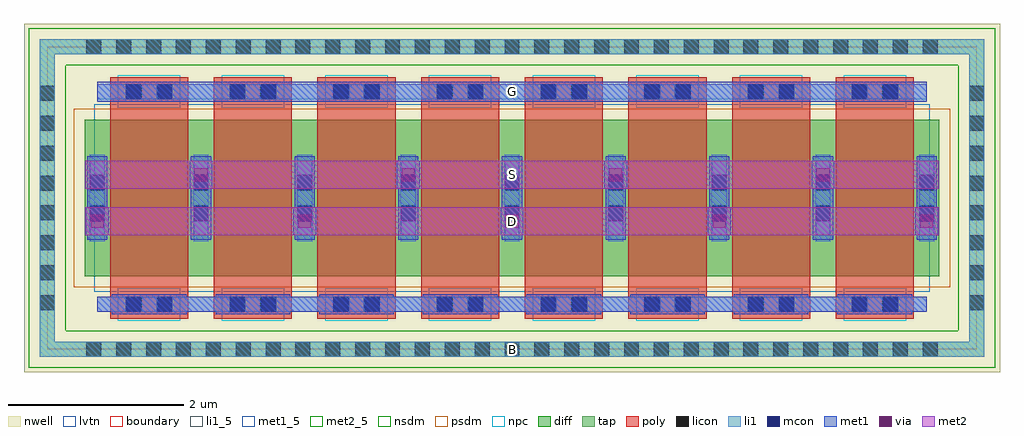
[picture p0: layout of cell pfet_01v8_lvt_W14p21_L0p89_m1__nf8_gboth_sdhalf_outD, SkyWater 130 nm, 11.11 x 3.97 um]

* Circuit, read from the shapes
.subckt pfet_01v8_lvt_W14p21_L0p89_m1__nf8_gboth_sdhalf_outD B D G S
XM1 S G D B sky130_fd_pr__pfet_01v8_lvt w=1.78 l=0.89 m=8
.ends

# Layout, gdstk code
import gdstk
lib = gdstk.Library(unit=1e-6, precision=1e-09)
def R(c, l, rs):  # rectangles x0, y0, x1, y1
    for r in rs: c.add(gdstk.rectangle(r[:2], r[2:], *l))
def A(c, l, x, y, w, h, nx, ny, dx, dy):  # array of equal rectangles
    R(c, l, [(x+i*dx, y+j*dy, x+i*dx+w, y+j*dy+h) for i in range(nx) for j in range(ny)])
nwell = (64, 20)
diff = (65, 20)
tap = (65, 44)
poly = (66, 20)
licon = (66, 44)
li1_5 = (67, 5)
li1 = (67, 20)
mcon = (67, 44)
met1_5 = (68, 5)
met1 = (68, 20)
via = (68, 44)
met2_5 = (69, 5)
met2 = (69, 20)
nsdm = (93, 44)
psdm = (94, 20)
npc = (95, 20)
lvtn = (125, 44)
boundary = (235, 4)

sky130_fd_pr__pfet_01v8_ = lib.new_cell('sky130_fd_pr__pfet_01v8_lvt_8EAM32')
R(sky130_fd_pr__pfet_01v8_, nwell, [(-5.555,-1.985,5.555,1.985)])
R(sky130_fd_pr__pfet_01v8_, diff, [(-4.865,-0.89,4.865,0.89)])
R(sky130_fd_pr__pfet_01v8_, tap, [(-5.375,-1.805,5.375,-1.635), (-5.375,-1.635,-5.205,1.635), (5.205,-1.635,5.375,1.635), (-5.375,1.635,5.375,1.805)])
A(sky130_fd_pr__pfet_01v8_, poly, -4.575, -1.375, 0.89, 2.75, 8, 1, 1.18, 0)
A(sky130_fd_pr__pfet_01v8_, licon, -4.845, -1.805, 0.17, 0.17, 29, 2, 0.34, 3.44)
A(sky130_fd_pr__pfet_01v8_, licon, -5.375, -1.275, 0.17, 0.17, 1, 8, 0, 0.34)
A(sky130_fd_pr__pfet_01v8_, licon, 5.205, -1.275, 0.17, 0.17, 1, 8, 0, 0.34)
A(sky130_fd_pr__pfet_01v8_, licon, -4.805, -0.255, 0.17, 0.17, 9, 2, 1.18, 0.34)
R(sky130_fd_pr__pfet_01v8_, licon, [(-4.385,-1.295,-4.215,-1.125), (-4.045,-1.295,-3.875,-1.125), (-3.205,-1.295,-3.035,-1.125), (-2.865,-1.295,-2.695,-1.125), (-2.025,-1.295,-1.855,-1.125), (-1.685,-1.295,-1.515,-1.125), (-0.845,-1.295,-0.675,-1.125), (-0.505,-1.295,-0.335,-1.125), (0.335,-1.295,0.505,-1.125), (0.675,-1.295,0.845,-1.125), (1.515,-1.295,1.685,-1.125), (1.855,-1.295,2.025,-1.125), (2.695,-1.295,2.865,-1.125), (3.035,-1.295,3.205,-1.125), (3.875,-1.295,4.045,-1.125), (4.215,-1.295,4.385,-1.125), (-4.385,1.125,-4.215,1.295), (-4.045,1.125,-3.875,1.295), (-3.205,1.125,-3.035,1.295), (-2.865,1.125,-2.695,1.295), (-2.025,1.125,-1.855,1.295), (-1.685,1.125,-1.515,1.295), (-0.845,1.125,-0.675,1.295), (-0.505,1.125,-0.335,1.295), (0.335,1.125,0.505,1.295), (0.675,1.125,0.845,1.295), (1.515,1.125,1.685,1.295), (1.855,1.125,2.025,1.295), (2.695,1.125,2.865,1.295), (3.035,1.125,3.205,1.295), (3.875,1.125,4.045,1.295), (4.215,1.125,4.385,1.295)])
A(sky130_fd_pr__pfet_01v8_, li1, -4.805, -0.495, 0.17, 0.99, 9, 1, 1.18, 0)
R(sky130_fd_pr__pfet_01v8_, li1, [(-5.375,-1.805,5.375,-1.635), (-5.375,-1.635,-5.205,1.635), (5.205,-1.635,5.375,1.635), (-4.72,-1.295,4.72,-1.125), (-4.72,1.125,4.72,1.295), (-5.375,1.635,5.375,1.805)])
A(sky130_fd_pr__pfet_01v8_, mcon, -4.805, -0.265, 0.17, 0.17, 9, 2, 1.18, 0.36)
R(sky130_fd_pr__pfet_01v8_, mcon, [(-4.395,-1.295,-4.225,-1.125), (-4.035,-1.295,-3.865,-1.125), (-3.215,-1.295,-3.045,-1.125), (-2.855,-1.295,-2.685,-1.125), (-2.035,-1.295,-1.865,-1.125), (-1.675,-1.295,-1.505,-1.125), (-0.855,-1.295,-0.685,-1.125), (-0.495,-1.295,-0.325,-1.125), (0.325,-1.295,0.495,-1.125), (0.685,-1.295,0.855,-1.125), (1.505,-1.295,1.675,-1.125), (1.865,-1.295,2.035,-1.125), (2.685,-1.295,2.855,-1.125), (3.045,-1.295,3.215,-1.125), (3.865,-1.295,4.035,-1.125), (4.225,-1.295,4.395,-1.125), (-4.395,1.125,-4.225,1.295), (-4.035,1.125,-3.865,1.295), (-3.215,1.125,-3.045,1.295), (-2.855,1.125,-2.685,1.295), (-2.035,1.125,-1.865,1.295), (-1.675,1.125,-1.505,1.295), (-0.855,1.125,-0.685,1.295), (-0.495,1.125,-0.325,1.295), (0.325,1.125,0.495,1.295), (0.685,1.125,0.855,1.295), (1.505,1.125,1.675,1.295), (1.865,1.125,2.035,1.295), (2.685,1.125,2.855,1.295), (3.045,1.125,3.215,1.295), (3.865,1.125,4.035,1.295), (4.225,1.125,4.395,1.295)])
A(sky130_fd_pr__pfet_01v8_, met1, -4.555, -1.325, 0.85, 0.03, 8, 2, 1.18, 0.2)
A(sky130_fd_pr__pfet_01v8_, met1, -4.835, -0.475, 0.23, 0.95, 9, 1, 1.18, 0)
A(sky130_fd_pr__pfet_01v8_, met1, -4.555, 1.095, 0.85, 0.03, 8, 2, 1.18, 0.2)
R(sky130_fd_pr__pfet_01v8_, met1, [(-4.72,-1.295,4.72,-1.125), (-4.72,1.125,4.72,1.295)])
R(sky130_fd_pr__pfet_01v8_, nsdm, [(-5.5,-1.93,5.5,-1.51), (-5.5,-1.51,-5.08,1.51), (5.08,-1.51,5.5,1.51), (-5.5,1.51,5.5,1.93)])
R(sky130_fd_pr__pfet_01v8_, psdm, [(-4.99,-1.015,4.99,1.015)])
A(sky130_fd_pr__pfet_01v8_, npc, -4.485, -1.395, 0.71, 0.37, 8, 2, 1.18, 2.42)
R(sky130_fd_pr__pfet_01v8_, lvtn, [(-4.755,-1.07,4.755,1.07)])
R(sky130_fd_pr__pfet_01v8_, boundary, [(-5.29,-1.72,5.29,1.72)])
sky130_fd_pr__pfet_01v8_.add(gdstk.Label('B', (0,-1.72), layer=67, texttype=5))
sky130_fd_pr__pfet_01v8_.add(gdstk.Label('D0', (-4.72,0), layer=67, texttype=5))
sky130_fd_pr__pfet_01v8_.add(gdstk.Label('G', (4.13,1.21), layer=67, texttype=5))
sky130_fd_pr__pfet_01v8_.add(gdstk.Label('G', (2.95,1.21), layer=67, texttype=5))
sky130_fd_pr__pfet_01v8_.add(gdstk.Label('G', (1.77,1.21), layer=67, texttype=5))
sky130_fd_pr__pfet_01v8_.add(gdstk.Label('G', (0.59,1.21), layer=67, texttype=5))
sky130_fd_pr__pfet_01v8_.add(gdstk.Label('G', (-0.59,1.21), layer=67, texttype=5))
sky130_fd_pr__pfet_01v8_.add(gdstk.Label('G', (-1.77,1.21), layer=67, texttype=5))
sky130_fd_pr__pfet_01v8_.add(gdstk.Label('G', (-2.95,1.21), layer=67, texttype=5))
sky130_fd_pr__pfet_01v8_.add(gdstk.Label('G', (-4.13,1.21), layer=67, texttype=5))
sky130_fd_pr__pfet_01v8_.add(gdstk.Label('S1', (-3.54,0), layer=67, texttype=5))
sky130_fd_pr__pfet_01v8_.add(gdstk.Label('D2', (-2.36,0), layer=67, texttype=5))
sky130_fd_pr__pfet_01v8_.add(gdstk.Label('S3', (-1.18,0), layer=67, texttype=5))
sky130_fd_pr__pfet_01v8_.add(gdstk.Label('D4', (0,0), layer=67, texttype=5))
sky130_fd_pr__pfet_01v8_.add(gdstk.Label('S5', (1.18,0), layer=67, texttype=5))
sky130_fd_pr__pfet_01v8_.add(gdstk.Label('D6', (2.36,0), layer=67, texttype=5))
sky130_fd_pr__pfet_01v8_.add(gdstk.Label('S7', (3.54,0), layer=67, texttype=5))

pfet_01v8_lvt_w14p21_l0p = lib.new_cell('pfet_01v8_lvt_W14p21_L0p89_m1__nf8_gboth_sdhalf_outD')
R(pfet_01v8_lvt_w14p21_l0p, li1_5, [(5.205,-0.085,5.375,0.085)])
R(pfet_01v8_lvt_w14p21_l0p, li1, [(5.205,-0.085,5.375,0.085)])
R(pfet_01v8_lvt_w14p21_l0p, met1_5, [(0.57,2.815,10.01,3.045)])
A(pfet_01v8_lvt_w14p21_l0p, met1, 0.44, 1.295, 0.26, 0.32, 5, 1, 2.36, 0)
A(pfet_01v8_lvt_w14p21_l0p, met1, 1.62, 1.825, 0.26, 0.32, 4, 1, 2.36, 0)
R(pfet_01v8_lvt_w14p21_l0p, met1, [(0.57,2.815,10.01,3.045)])
A(pfet_01v8_lvt_w14p21_l0p, via, 0.495, 1.38, 0.15, 0.15, 5, 1, 2.36, 0)
A(pfet_01v8_lvt_w14p21_l0p, via, 1.675, 1.91, 0.15, 0.15, 4, 1, 2.36, 0)
R(pfet_01v8_lvt_w14p21_l0p, met2_5, [(0.435,1.295,10.145,1.615), (0.435,1.825,10.145,2.145)])
R(pfet_01v8_lvt_w14p21_l0p, met2, [(0.435,1.295,10.145,1.615), (0.435,1.825,10.145,2.145)])
pfet_01v8_lvt_w14p21_l0p.add(gdstk.Reference(sky130_fd_pr__pfet_01v8_, (5.29,1.72)))
pfet_01v8_lvt_w14p21_l0p.add(gdstk.Label('S', (5.29,1.985), layer=69, texttype=5))
pfet_01v8_lvt_w14p21_l0p.add(gdstk.Label('D', (5.29,1.455), layer=69, texttype=5))
pfet_01v8_lvt_w14p21_l0p.add(gdstk.Label('G', (5.29,2.93), layer=68, texttype=5))
pfet_01v8_lvt_w14p21_l0p.add(gdstk.Label('B', (5.29,0), layer=67, texttype=5))

lib.write_gds('pfet_01v8_lvt_W14p21_L0p89_m1__nf8_gboth_sdhalf_outD.gds')
